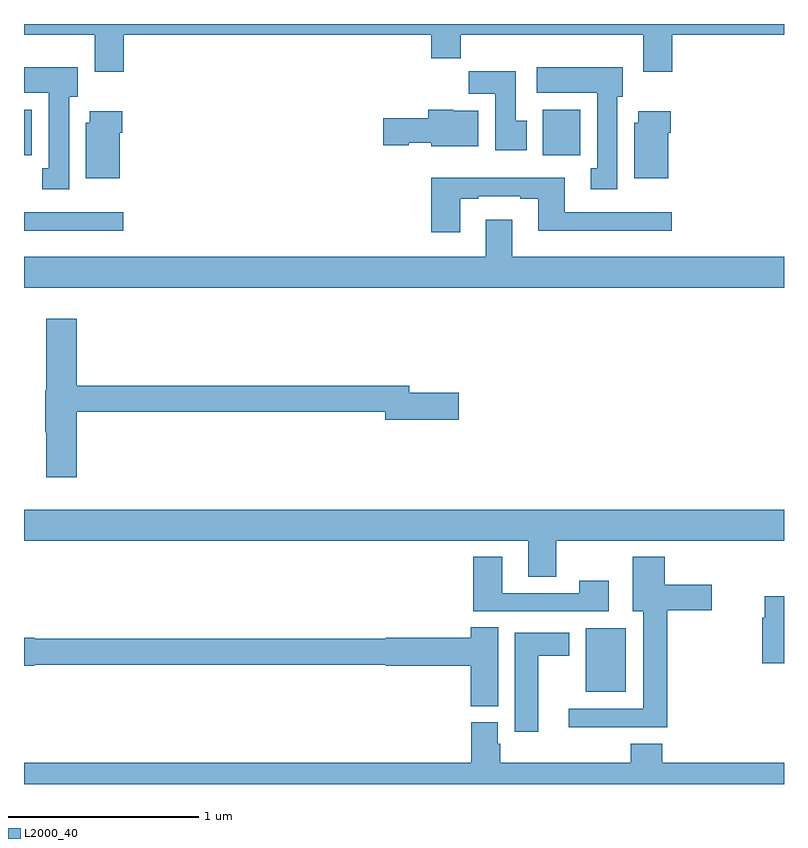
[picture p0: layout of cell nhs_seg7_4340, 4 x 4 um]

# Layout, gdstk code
import gdstk
lib = gdstk.Library(unit=1e-6, precision=1e-09)
def R(c, l, rs):  # rectangles x0, y0, x1, y1
    for r in rs: c.add(gdstk.rectangle(r[:2], r[2:], *l))
def P(c, l, *ps):  # polygons
    for p in ps: c.add(gdstk.Polygon(p, *l))
L2000_40 = (2000, 40)

nhs_seg7_4340 = lib.new_cell('nhs_seg7_4340')
R(nhs_seg7_4340, L2000_40, [(387.956,1002.485,388.168,1002.82), (385,1004.912,385.522,1005.009), (385,1005.308,385.042,1005.55), (387.731,1005.308,387.928,1005.55)])
P(nhs_seg7_4340, L2000_40, [(385.526,1005.944),(387.143,1005.944),(387.143,1005.82),(387.299,1005.82),(387.299,1005.944),(388.259,1005.944),(388.259,1005.75),(388.412,1005.75),(388.412,1005.944),(389,1005.944),(389,1006),(385,1006),(385,1005.944),(385.373,1005.944),(385.373,1005.75),(385.526,1005.75)],
  [(385.237,1005.618),(385.282,1005.618),(385.282,1005.772),(385,1005.772),(385,1005.638),(385.13,1005.638),(385.13,1005.242),(385.097,1005.242),(385.097,1005.129),(385.237,1005.129)],
  [(388.123,1005.618),(388.15,1005.618),(388.15,1005.772),(387.699,1005.772),(387.699,1005.638),(388.016,1005.638),(388.016,1005.242),(387.983,1005.242),(387.983,1005.129),(388.123,1005.129)],
  [(387.646,1005.492),(387.589,1005.492),(387.589,1005.751),(387.34,1005.751),(387.34,1005.632),(387.479,1005.632),(387.479,1005.336),(387.646,1005.336)],
  [(387.391,1005.544),(387.258,1005.544),(387.258,1005.55),(387.128,1005.55),(387.128,1005.504),(386.892,1005.504),(386.892,1005.362),(387.024,1005.362),(387.024,1005.374),(387.144,1005.374),(387.144,1005.356),(387.391,1005.356)],
  [(385.504,1005.428),(385.517,1005.428),(385.517,1005.541),(385.346,1005.541),(385.346,1005.48),(385.325,1005.48),(385.325,1005.188),(385.504,1005.188)],
  [(388.39,1005.428),(388.403,1005.428),(388.403,1005.541),(388.232,1005.541),(388.232,1005.48),(388.211,1005.48),(388.211,1005.188),(388.39,1005.188)],
  [(387.295,1005.081),(387.391,1005.081),(387.391,1005.093),(387.611,1005.093),(387.611,1005.081),(387.707,1005.081),(387.707,1004.912),(388.408,1004.912),(388.408,1005.009),(387.847,1005.009),(387.847,1005.19),(387.143,1005.19),(387.143,1004.904),(387.295,1004.904)],
  [(389,1004.776),(387.571,1004.776),(387.571,1004.971),(387.431,1004.971),(387.431,1004.776),(385,1004.776),(385,1004.612),(389,1004.612)],
  [(385.277,1003.96),(386.9,1003.96),(386.9,1003.918),(387.289,1003.918),(387.289,1004.06),(387.028,1004.06),(387.028,1004.096),(385.277,1004.096),(385.277,1004.449),(385.118,1004.449),(385.118,1004.073),(385.111,1004.073),(385.111,1003.852),(385.118,1003.852),(385.118,1003.614),(385.277,1003.614)],
  [(387.801,1003.28),(389,1003.28),(389,1003.444),(385,1003.444),(385,1003.28),(387.653,1003.28),(387.653,1003.09),(387.801,1003.09)],
  [(388.078,1003.069),(387.922,1003.069),(387.922,1003.005),(387.517,1003.005),(387.517,1003.195),(387.365,1003.195),(387.365,1002.909),(388.078,1002.909)],
  [(388.385,1002.914),(388.621,1002.914),(388.621,1003.048),(388.372,1003.048),(388.372,1003.195),(388.205,1003.195),(388.205,1002.908),(388.259,1002.908),(388.259,1002.396),(387.867,1002.396),(387.867,1002.299),(388.385,1002.299)],
  [(389,1002.988),(388.898,1002.988),(388.898,1002.875),(388.886,1002.875),(388.886,1002.635),(389,1002.635)],
  [(387.496,1002.824),(387.35,1002.824),(387.35,1002.77),(386.904,1002.77),(386.904,1002.764),(385.056,1002.764),(385.056,1002.77),(385,1002.77),(385,1002.623),(385.056,1002.623),(385.056,1002.628),(386.904,1002.628),(386.904,1002.623),(387.35,1002.623),(387.35,1002.409),(387.496,1002.409)],
  [(387.706,1002.674),(387.871,1002.674),(387.871,1002.796),(387.584,1002.796),(387.584,1002.276),(387.706,1002.276)],
  [(389,1002.112),(388.358,1002.112),(388.358,1002.211),(388.193,1002.211),(388.193,1002.112),(387.506,1002.112),(387.506,1002.213),(387.493,1002.213),(387.493,1002.324),(387.353,1002.324),(387.353,1002.112),(385,1002.112),(385,1002),(389,1002)])

lib.write_gds('nhs_seg7_4340.gds')
